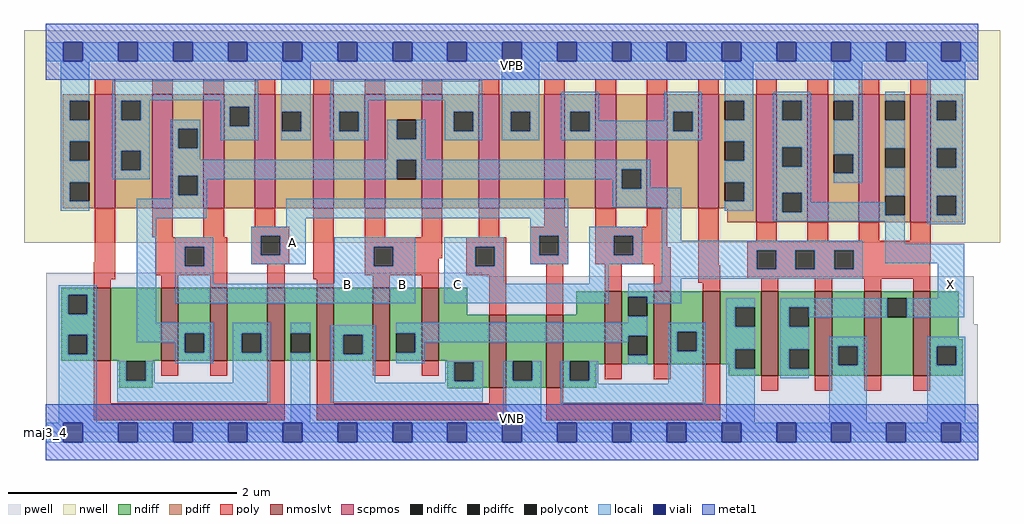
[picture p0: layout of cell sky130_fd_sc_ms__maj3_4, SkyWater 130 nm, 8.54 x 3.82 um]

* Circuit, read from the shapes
.subckt sky130_fd_sc_ms__maj3_4 A B C VGND VNB VPB VPWR X
XM1 n1 A VGND VNB sky130_fd_pr__nfet_01v8_lvt w=0.64 l=0.15 m=2
XM2 n2 B n1 VNB sky130_fd_pr__nfet_01v8_lvt w=0.64 l=0.15 m=2
XM3 n3 C VGND VNB sky130_fd_pr__nfet_01v8_lvt w=0.64 l=0.15 m=2
XM4 n2 B n3 VNB sky130_fd_pr__nfet_01v8_lvt w=0.64 l=0.15 m=2
XM5 n4 A VGND VNB sky130_fd_pr__nfet_01v8_lvt w=0.64 l=0.15 m=2
XM6 n2 C n4 VNB sky130_fd_pr__nfet_01v8_lvt w=0.64 l=0.15 m=2
XM7 X n2 VGND VNB sky130_fd_pr__nfet_01v8_lvt w=0.74 l=0.15 m=4
XM8 n5 A VPWR VPB sky130_fd_pr__pfet_01v8 w=1 l=0.18 m=2
XM9 n2 B n5 VPB sky130_fd_pr__pfet_01v8 w=1 l=0.18 m=2
XM10 n6 C VPWR VPB sky130_fd_pr__pfet_01v8 w=1 l=0.18 m=2
XM11 n2 B n6 VPB sky130_fd_pr__pfet_01v8 w=1 l=0.18 m=2
XM12 n7 A VPWR VPB sky130_fd_pr__pfet_01v8 w=1 l=0.18 m=2
XM13 n2 C n7 VPB sky130_fd_pr__pfet_01v8 w=1 l=0.18 m=2
XM14 X n2 VPWR VPB sky130_fd_pr__pfet_01v8 w=1.12 l=0.18 m=4
.ends

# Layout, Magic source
magic
tech sky130A
magscale 1 2
<< nwell >>
rect -38 332 1670 704
<< pwell >>
rect 1 273 764 279
rect 1 189 1624 273
rect 1 49 1631 189
rect 0 0 1632 49
<< scpmos >>
rect 86 392 122 592
rect 186 392 222 592
rect 276 392 312 592
rect 366 392 402 592
rect 468 392 504 592
rect 558 392 594 592
rect 658 392 694 592
rect 758 392 794 592
rect 872 392 908 592
rect 962 392 998 592
rect 1052 392 1088 592
rect 1142 392 1178 592
rect 1243 368 1279 592
rect 1333 368 1369 592
rect 1423 368 1459 592
rect 1513 368 1549 592
<< nmoslvt >>
rect 84 125 114 253
rect 202 125 232 253
rect 288 125 318 253
rect 388 125 418 253
rect 474 125 504 253
rect 572 125 602 253
rect 658 125 688 253
rect 776 78 806 206
rect 876 78 906 206
rect 978 119 1008 247
rect 1064 119 1094 247
rect 1150 119 1180 247
rect 1252 99 1282 247
rect 1346 99 1376 247
rect 1432 99 1462 247
rect 1518 99 1548 247
<< ndiff >>
rect 27 241 84 253
rect 27 207 39 241
rect 73 207 84 241
rect 27 171 84 207
rect 27 137 39 171
rect 73 137 84 171
rect 27 125 84 137
rect 114 125 202 253
rect 232 173 288 253
rect 232 139 243 173
rect 277 139 288 173
rect 232 125 288 139
rect 318 173 388 253
rect 318 139 343 173
rect 377 139 388 173
rect 318 125 388 139
rect 418 173 474 253
rect 418 139 429 173
rect 463 139 474 173
rect 418 125 474 139
rect 504 171 572 253
rect 504 137 521 171
rect 555 137 572 171
rect 504 125 572 137
rect 602 173 658 253
rect 602 139 613 173
rect 647 139 658 173
rect 602 125 658 139
rect 688 206 738 253
rect 928 206 978 247
rect 688 125 776 206
rect 129 124 187 125
rect 129 90 141 124
rect 175 90 187 124
rect 129 78 187 90
rect 703 123 776 125
rect 703 89 715 123
rect 749 89 776 123
rect 703 78 776 89
rect 806 124 876 206
rect 806 90 817 124
rect 851 90 876 124
rect 806 78 876 90
rect 906 124 978 206
rect 906 90 917 124
rect 951 119 978 124
rect 1008 237 1064 247
rect 1008 203 1019 237
rect 1053 203 1064 237
rect 1008 169 1064 203
rect 1008 135 1019 169
rect 1053 135 1064 169
rect 1008 119 1064 135
rect 1094 176 1150 247
rect 1094 142 1105 176
rect 1139 142 1150 176
rect 1094 119 1150 142
rect 1180 219 1252 247
rect 1180 185 1207 219
rect 1241 185 1252 219
rect 1180 145 1252 185
rect 1180 119 1207 145
rect 951 90 963 119
rect 906 78 963 90
rect 703 77 761 78
rect 1195 111 1207 119
rect 1241 111 1252 145
rect 1195 99 1252 111
rect 1282 219 1346 247
rect 1282 185 1301 219
rect 1335 185 1346 219
rect 1282 145 1346 185
rect 1282 111 1301 145
rect 1335 111 1346 145
rect 1282 99 1346 111
rect 1376 151 1432 247
rect 1376 117 1387 151
rect 1421 117 1432 151
rect 1376 99 1432 117
rect 1462 235 1518 247
rect 1462 201 1473 235
rect 1507 201 1518 235
rect 1462 99 1518 201
rect 1548 163 1598 247
rect 1548 151 1605 163
rect 1548 117 1559 151
rect 1593 117 1605 151
rect 1548 99 1605 117
<< pdiff >>
rect 30 580 86 592
rect 30 546 42 580
rect 76 546 86 580
rect 30 509 86 546
rect 30 475 42 509
rect 76 475 86 509
rect 30 438 86 475
rect 30 404 42 438
rect 76 404 86 438
rect 30 392 86 404
rect 122 580 186 592
rect 122 546 132 580
rect 166 546 186 580
rect 122 493 186 546
rect 122 459 132 493
rect 166 459 186 493
rect 122 392 186 459
rect 222 531 276 592
rect 222 497 232 531
rect 266 497 276 531
rect 222 449 276 497
rect 222 415 232 449
rect 266 415 276 449
rect 222 392 276 415
rect 312 570 366 592
rect 312 536 322 570
rect 356 536 366 570
rect 312 392 366 536
rect 402 561 468 592
rect 402 527 413 561
rect 447 527 468 561
rect 402 392 468 527
rect 504 561 558 592
rect 504 527 514 561
rect 548 527 558 561
rect 504 392 558 527
rect 594 547 658 592
rect 594 513 614 547
rect 648 513 658 547
rect 594 477 658 513
rect 594 443 614 477
rect 648 443 658 477
rect 594 392 658 443
rect 694 561 758 592
rect 694 527 714 561
rect 748 527 758 561
rect 694 392 758 527
rect 794 561 872 592
rect 794 527 814 561
rect 848 527 872 561
rect 794 392 872 527
rect 908 561 962 592
rect 908 527 918 561
rect 952 527 962 561
rect 908 392 962 527
rect 998 460 1052 592
rect 998 426 1008 460
rect 1042 426 1052 460
rect 998 392 1052 426
rect 1088 561 1142 592
rect 1088 527 1098 561
rect 1132 527 1142 561
rect 1088 392 1142 527
rect 1178 580 1243 592
rect 1178 546 1188 580
rect 1222 546 1243 580
rect 1178 509 1243 546
rect 1178 475 1188 509
rect 1222 475 1243 509
rect 1178 438 1243 475
rect 1178 404 1188 438
rect 1222 404 1243 438
rect 1178 392 1243 404
rect 1193 368 1243 392
rect 1279 580 1333 592
rect 1279 546 1289 580
rect 1323 546 1333 580
rect 1279 499 1333 546
rect 1279 465 1289 499
rect 1323 465 1333 499
rect 1279 419 1333 465
rect 1279 385 1289 419
rect 1323 385 1333 419
rect 1279 368 1333 385
rect 1369 580 1423 592
rect 1369 546 1379 580
rect 1413 546 1423 580
rect 1369 487 1423 546
rect 1369 453 1379 487
rect 1413 453 1423 487
rect 1369 368 1423 453
rect 1459 580 1513 592
rect 1459 546 1469 580
rect 1503 546 1513 580
rect 1459 497 1513 546
rect 1459 463 1469 497
rect 1503 463 1513 497
rect 1459 414 1513 463
rect 1459 380 1469 414
rect 1503 380 1513 414
rect 1459 368 1513 380
rect 1549 580 1605 592
rect 1549 546 1559 580
rect 1593 546 1605 580
rect 1549 497 1605 546
rect 1549 463 1559 497
rect 1593 463 1605 497
rect 1549 414 1605 463
rect 1549 380 1559 414
rect 1593 380 1605 414
rect 1549 368 1605 380
<< ndiffc >>
rect 39 207 73 241
rect 39 137 73 171
rect 243 139 277 173
rect 343 139 377 173
rect 429 139 463 173
rect 521 137 555 171
rect 613 139 647 173
rect 141 90 175 124
rect 715 89 749 123
rect 817 90 851 124
rect 917 90 951 124
rect 1019 203 1053 237
rect 1019 135 1053 169
rect 1105 142 1139 176
rect 1207 185 1241 219
rect 1207 111 1241 145
rect 1301 185 1335 219
rect 1301 111 1335 145
rect 1387 117 1421 151
rect 1473 201 1507 235
rect 1559 117 1593 151
<< pdiffc >>
rect 42 546 76 580
rect 42 475 76 509
rect 42 404 76 438
rect 132 546 166 580
rect 132 459 166 493
rect 232 497 266 531
rect 232 415 266 449
rect 322 536 356 570
rect 413 527 447 561
rect 514 527 548 561
rect 614 513 648 547
rect 614 443 648 477
rect 714 527 748 561
rect 814 527 848 561
rect 918 527 952 561
rect 1008 426 1042 460
rect 1098 527 1132 561
rect 1188 546 1222 580
rect 1188 475 1222 509
rect 1188 404 1222 438
rect 1289 546 1323 580
rect 1289 465 1323 499
rect 1289 385 1323 419
rect 1379 546 1413 580
rect 1379 453 1413 487
rect 1469 546 1503 580
rect 1469 463 1503 497
rect 1469 380 1503 414
rect 1559 546 1593 580
rect 1559 463 1593 497
rect 1559 380 1593 414
<< poly >>
rect 86 592 122 618
rect 186 592 222 618
rect 276 592 312 618
rect 366 592 402 618
rect 468 592 504 618
rect 558 592 594 618
rect 658 592 694 618
rect 758 592 794 618
rect 872 592 908 618
rect 962 592 998 618
rect 1052 592 1088 618
rect 1142 592 1178 618
rect 1243 592 1279 618
rect 1333 592 1369 618
rect 1423 592 1459 618
rect 1513 592 1549 618
rect 86 298 122 392
rect 186 341 222 392
rect 276 341 312 392
rect 366 360 402 392
rect 360 344 426 360
rect 84 268 122 298
rect 192 325 318 341
rect 192 291 243 325
rect 277 291 318 325
rect 360 310 376 344
rect 410 310 426 344
rect 360 294 426 310
rect 192 275 318 291
rect 84 253 114 268
rect 202 253 232 275
rect 288 253 318 275
rect 388 253 418 294
rect 468 268 504 392
rect 558 341 594 392
rect 658 341 694 392
rect 758 341 794 392
rect 872 360 908 392
rect 962 360 998 392
rect 1052 360 1088 392
rect 848 344 914 360
rect 558 325 694 341
rect 558 291 574 325
rect 608 305 694 325
rect 736 325 806 341
rect 608 291 688 305
rect 558 275 688 291
rect 736 291 752 325
rect 786 291 806 325
rect 848 310 864 344
rect 898 310 914 344
rect 848 294 914 310
rect 962 344 1088 360
rect 962 310 994 344
rect 1028 324 1088 344
rect 1028 310 1094 324
rect 962 294 1094 310
rect 736 275 806 291
rect 474 253 504 268
rect 572 253 602 275
rect 658 253 688 275
rect 776 206 806 275
rect 876 206 906 294
rect 978 247 1008 294
rect 1064 247 1094 294
rect 1142 292 1178 392
rect 1243 335 1279 368
rect 1333 335 1369 368
rect 1423 335 1459 368
rect 1513 335 1549 368
rect 1228 319 1549 335
rect 1142 262 1180 292
rect 1228 285 1244 319
rect 1278 285 1312 319
rect 1346 285 1380 319
rect 1414 299 1549 319
rect 1414 285 1548 299
rect 1228 269 1548 285
rect 1150 247 1180 262
rect 1252 247 1282 269
rect 1346 247 1376 269
rect 1432 247 1462 269
rect 1518 247 1548 269
rect 84 51 114 125
rect 202 99 232 125
rect 288 99 318 125
rect 388 51 418 125
rect 84 21 418 51
rect 474 51 504 125
rect 572 99 602 125
rect 658 99 688 125
rect 978 93 1008 119
rect 1064 93 1094 119
rect 776 51 806 78
rect 474 21 806 51
rect 876 51 906 78
rect 1150 51 1180 119
rect 1252 73 1282 99
rect 1346 73 1376 99
rect 1432 73 1462 99
rect 1518 73 1548 99
rect 876 21 1180 51
<< polycont >>
rect 243 291 277 325
rect 376 310 410 344
rect 574 291 608 325
rect 752 291 786 325
rect 864 310 898 344
rect 994 310 1028 344
rect 1244 285 1278 319
rect 1312 285 1346 319
rect 1380 285 1414 319
<< locali >>
rect 0 649 31 683
rect 65 649 127 683
rect 161 649 223 683
rect 257 649 319 683
rect 353 649 415 683
rect 449 649 511 683
rect 545 649 607 683
rect 641 649 703 683
rect 737 649 799 683
rect 833 649 895 683
rect 929 649 991 683
rect 1025 649 1087 683
rect 1121 649 1183 683
rect 1217 649 1279 683
rect 1313 649 1375 683
rect 1409 649 1471 683
rect 1505 649 1567 683
rect 1601 649 1632 683
rect 26 580 76 649
rect 26 546 42 580
rect 26 509 76 546
rect 26 475 42 509
rect 26 438 76 475
rect 116 581 372 615
rect 116 580 182 581
rect 116 546 132 580
rect 166 546 182 580
rect 306 570 372 581
rect 116 493 182 546
rect 116 459 132 493
rect 166 459 182 493
rect 116 443 182 459
rect 219 531 270 547
rect 219 497 232 531
rect 266 497 270 531
rect 306 536 322 570
rect 356 536 372 570
rect 306 511 372 536
rect 412 561 464 649
rect 412 527 413 561
rect 447 527 464 561
rect 412 511 464 527
rect 498 581 764 615
rect 498 561 564 581
rect 498 527 514 561
rect 548 527 564 561
rect 698 561 764 581
rect 498 511 564 527
rect 598 513 614 547
rect 648 513 664 547
rect 219 477 270 497
rect 598 477 664 513
rect 698 527 714 561
rect 748 527 764 561
rect 698 511 764 527
rect 798 561 864 649
rect 798 527 814 561
rect 848 527 864 561
rect 798 511 864 527
rect 902 561 968 596
rect 902 527 918 561
rect 952 545 968 561
rect 1082 561 1148 596
rect 1082 545 1098 561
rect 952 527 1098 545
rect 1132 527 1148 561
rect 902 511 1148 527
rect 1188 580 1238 649
rect 1222 546 1238 580
rect 1188 509 1238 546
rect 219 449 614 477
rect 26 404 42 438
rect 219 415 232 449
rect 266 443 614 449
rect 648 460 1058 477
rect 648 443 1008 460
rect 266 415 282 443
rect 219 409 282 415
rect 992 426 1008 443
rect 1042 428 1058 460
rect 1222 475 1238 509
rect 1188 438 1238 475
rect 1042 426 1112 428
rect 26 388 76 404
rect 159 375 282 409
rect 421 375 914 409
rect 992 394 1112 426
rect 23 241 89 257
rect 23 207 39 241
rect 73 207 89 241
rect 23 171 89 207
rect 23 137 39 171
rect 73 137 89 171
rect 159 192 193 375
rect 421 360 455 375
rect 360 344 455 360
rect 227 325 293 341
rect 227 291 243 325
rect 277 291 293 325
rect 360 310 376 344
rect 410 310 455 344
rect 848 344 914 375
rect 360 294 455 310
rect 505 325 647 341
rect 227 260 293 291
rect 505 291 574 325
rect 608 291 647 325
rect 505 260 647 291
rect 227 226 647 260
rect 697 325 802 341
rect 697 291 752 325
rect 786 291 802 325
rect 848 310 864 344
rect 898 310 914 344
rect 848 294 914 310
rect 951 344 1044 360
rect 951 310 994 344
rect 1028 310 1044 344
rect 951 294 1044 310
rect 1078 335 1112 394
rect 1222 404 1238 438
rect 1188 388 1238 404
rect 1273 580 1339 596
rect 1273 546 1289 580
rect 1323 546 1339 580
rect 1273 499 1339 546
rect 1273 465 1289 499
rect 1323 465 1339 499
rect 1273 419 1339 465
rect 1379 580 1429 649
rect 1413 546 1429 580
rect 1379 487 1429 546
rect 1413 453 1429 487
rect 1379 437 1429 453
rect 1469 580 1503 596
rect 1469 497 1503 546
rect 1273 385 1289 419
rect 1323 403 1339 419
rect 1469 414 1503 463
rect 1323 385 1469 403
rect 1273 380 1469 385
rect 1273 369 1503 380
rect 1078 319 1430 335
rect 697 260 802 291
rect 951 260 985 294
rect 1078 285 1244 319
rect 1278 285 1312 319
rect 1346 285 1380 319
rect 1414 285 1430 319
rect 1469 330 1503 369
rect 1543 580 1609 649
rect 1543 546 1559 580
rect 1593 546 1609 580
rect 1543 497 1609 546
rect 1543 463 1559 497
rect 1593 463 1609 497
rect 1543 414 1609 463
rect 1543 380 1559 414
rect 1593 380 1609 414
rect 1543 364 1609 380
rect 1469 296 1607 330
rect 1078 269 1430 285
rect 1078 260 1112 269
rect 697 226 985 260
rect 1019 237 1112 260
rect 1053 226 1112 237
rect 1561 235 1607 296
rect 1019 192 1053 203
rect 1191 219 1241 235
rect 159 173 293 192
rect 159 158 243 173
rect 23 17 89 137
rect 227 139 243 158
rect 277 139 293 173
rect 125 90 141 124
rect 175 90 191 124
rect 227 121 293 139
rect 327 173 393 192
rect 327 139 343 173
rect 377 139 393 173
rect 125 87 191 90
rect 327 87 393 139
rect 125 53 393 87
rect 429 173 463 192
rect 429 17 463 139
rect 499 171 577 187
rect 499 137 521 171
rect 555 137 577 171
rect 499 87 577 137
rect 613 173 1053 192
rect 647 169 1053 173
rect 647 158 1019 169
rect 647 139 663 158
rect 613 121 663 139
rect 699 123 765 124
rect 699 89 715 123
rect 749 89 765 123
rect 699 87 765 89
rect 499 53 765 87
rect 801 90 817 124
rect 851 90 867 124
rect 801 17 867 90
rect 901 90 917 124
rect 951 90 967 124
rect 1019 119 1053 135
rect 1089 176 1155 192
rect 1089 142 1105 176
rect 1139 142 1155 176
rect 901 85 967 90
rect 1089 85 1155 142
rect 901 51 1155 85
rect 1191 185 1207 219
rect 1191 145 1241 185
rect 1191 111 1207 145
rect 1191 17 1241 111
rect 1285 219 1473 235
rect 1285 185 1301 219
rect 1335 201 1473 219
rect 1507 201 1607 235
rect 1285 145 1335 185
rect 1285 111 1301 145
rect 1285 95 1335 111
rect 1371 151 1437 167
rect 1371 117 1387 151
rect 1421 117 1437 151
rect 1371 17 1437 117
rect 1543 151 1609 167
rect 1543 117 1559 151
rect 1593 117 1609 151
rect 1543 17 1609 117
rect 0 -17 31 17
rect 65 -17 127 17
rect 161 -17 223 17
rect 257 -17 319 17
rect 353 -17 415 17
rect 449 -17 511 17
rect 545 -17 607 17
rect 641 -17 703 17
rect 737 -17 799 17
rect 833 -17 895 17
rect 929 -17 991 17
rect 1025 -17 1087 17
rect 1121 -17 1183 17
rect 1217 -17 1279 17
rect 1313 -17 1375 17
rect 1409 -17 1471 17
rect 1505 -17 1567 17
rect 1601 -17 1632 17
<< viali >>
rect 31 649 65 683
rect 127 649 161 683
rect 223 649 257 683
rect 319 649 353 683
rect 415 649 449 683
rect 511 649 545 683
rect 607 649 641 683
rect 703 649 737 683
rect 799 649 833 683
rect 895 649 929 683
rect 991 649 1025 683
rect 1087 649 1121 683
rect 1183 649 1217 683
rect 1279 649 1313 683
rect 1375 649 1409 683
rect 1471 649 1505 683
rect 1567 649 1601 683
rect 31 -17 65 17
rect 127 -17 161 17
rect 223 -17 257 17
rect 319 -17 353 17
rect 415 -17 449 17
rect 511 -17 545 17
rect 607 -17 641 17
rect 703 -17 737 17
rect 799 -17 833 17
rect 895 -17 929 17
rect 991 -17 1025 17
rect 1087 -17 1121 17
rect 1183 -17 1217 17
rect 1279 -17 1313 17
rect 1375 -17 1409 17
rect 1471 -17 1505 17
rect 1567 -17 1601 17
<< metal1 >>
rect 0 683 1632 715
rect 0 649 31 683
rect 65 649 127 683
rect 161 649 223 683
rect 257 649 319 683
rect 353 649 415 683
rect 449 649 511 683
rect 545 649 607 683
rect 641 649 703 683
rect 737 649 799 683
rect 833 649 895 683
rect 929 649 991 683
rect 1025 649 1087 683
rect 1121 649 1183 683
rect 1217 649 1279 683
rect 1313 649 1375 683
rect 1409 649 1471 683
rect 1505 649 1567 683
rect 1601 649 1632 683
rect 0 617 1632 649
rect 0 17 1632 49
rect 0 -17 31 17
rect 65 -17 127 17
rect 161 -17 223 17
rect 257 -17 319 17
rect 353 -17 415 17
rect 449 -17 511 17
rect 545 -17 607 17
rect 641 -17 703 17
rect 737 -17 799 17
rect 833 -17 895 17
rect 929 -17 991 17
rect 1025 -17 1087 17
rect 1121 -17 1183 17
rect 1217 -17 1279 17
rect 1313 -17 1375 17
rect 1409 -17 1471 17
rect 1505 -17 1567 17
rect 1601 -17 1632 17
rect 0 -49 1632 -17
<< labels >>
flabel pwell s 0 0 1632 49 0 FreeSans 200 0 0 0 VNB
port 5 nsew ground bidirectional
flabel nwell s 0 617 1632 666 0 FreeSans 200 0 0 0 VPB
port 6 nsew power bidirectional
rlabel comment s 0 0 0 0 4 maj3_4
flabel metal1 s 0 617 1632 666 0 FreeSans 340 0 0 0 VPWR
port 7 nsew power bidirectional
flabel metal1 s 0 0 1632 49 0 FreeSans 340 0 0 0 VGND
port 4 nsew ground bidirectional
flabel locali s 703 242 737 276 0 FreeSans 340 0 0 0 C
port 3 nsew signal input
flabel locali s 511 242 545 276 0 FreeSans 340 0 0 0 B
port 2 nsew signal input
flabel locali s 607 242 641 276 0 FreeSans 340 0 0 0 B
port 2 nsew signal input
flabel locali s 1567 242 1601 276 0 FreeSans 340 0 0 0 X
port 8 nsew signal output
flabel locali s 415 316 449 350 0 FreeSans 340 0 0 0 A
port 1 nsew signal input
<< properties >>
string LEFsite unit
string LEFclass CORE
string FIXED_BBOX 0 0 1632 666
string GDS_FILE $PDKPATH/libs.ref/sky130_fd_sc_ms/gds/sky130_fd_sc_ms.gds
string LEFsymmetry X Y
string GDS_END 3782440
string GDS_START 3770646
<< end >>
